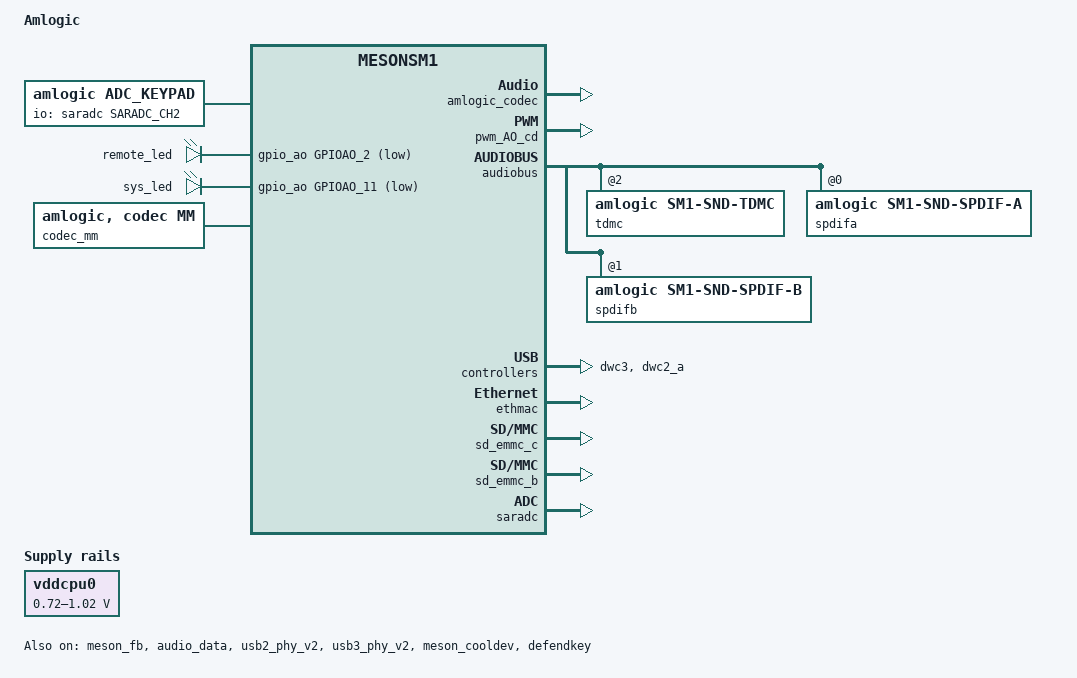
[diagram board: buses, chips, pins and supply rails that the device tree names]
/*
 * arch/arm64/boot/dts/amlogic/sm1_s905x3_ac214.dts
 *
 * Copyright (C) 2017 Amlogic, Inc. All rights reserved.
 *
 * This program is free software; you can redistribute it and/or modify
 * it under the terms of the GNU General Public License as published by
 * the Free Software Foundation; either version 2 of the License, or
 * (at your option) any later version.
 *
 * This program is distributed in the hope that it will be useful, but WITHOUT
 * ANY WARRANTY; without even the implied warranty of MERCHANTABILITY or
 * FITNESS FOR A PARTICULAR PURPOSE.  See the GNU General Public License for
 * more details.
 *
 */

/dts-v1/;

#include "mesonsm1.dtsi"
#include "partition_mbox_normal_P_32.dtsi"

/ {
	model = "Amlogic";
	amlogic-dt-id = "bananapi_m2p_2g";
	compatible = "amlogic, g12a";
	interrupt-parent = <&gic>;
	#address-cells = <1>;
	#size-cells = <1>;

	aliases {
		serial0 = &uart_AO;
		serial1 = &uart_A;
		serial2 = &uart_B;
		serial3 = &uart_C;
		serial4 = &uart_AO_B;
		tsensor0 = &p_tsensor;
		tsensor1 = &d_tsensor;
		i2c0 = &i2c0;
		i2c1 = &i2c1;
		i2c2 = &i2c2;
		i2c3 = &i2c3;
		i2c4 = &i2c_AO;
	};

	memory@00000000 {
		device_type = "memory";
		linux,usable-memory = <0x000000 0x80000000>;
	};

	reserved-memory {
		#address-cells = <1>;
		#size-cells = <1>;
		ranges;
		/* global autoconfigured region for contiguous allocations */
		ramoops@0x07400000 {
			compatible = "ramoops";
			reg = <0x07400000 0x00100000>;
			record-size = <0x8000>;
			console-size = <0x8000>;
			ftrace-size = <0x40000>;
		};

		secmon_reserved:linux,secmon {
			compatible = "shared-dma-pool";
			reusable;
			size = <0x400000>;
			alignment = <0x400000>;
			alloc-ranges = <0x05000000 0x400000>;
		};
		secos_reserved:linux,secos {
			status = "disable";
			compatible = "amlogic, aml_secos_memory";
			reg = <0x05300000 0x2000000>;
			no-map;
		};
		logo_reserved:linux,meson-fb {
			compatible = "shared-dma-pool";
			reusable;
			size = <0x800000>;
			alignment = <0x400000>;
			alloc-ranges = <0x7f800000 0x800000>;
		};
		ion_cma_reserved:linux,ion-dev {
			compatible = "shared-dma-pool";
			reusable;
			size = <0x8000000>;
			alignment = <0x400000>;
			alloc-ranges = <0x30000000 0x50000000>;
		};
		//di_reserved:linux,di {
			//compatible = "amlogic, di-mem";
			/* buffer_size = 3621952(yuv422 8bit) */
			/* 4179008(yuv422 10bit full pack mode) */
			/** 10x3621952=34.6M(0x23) support 8bit **/
			/** 10x4736064=45.2M(0x2e) support 12bit **/
			/** 10x4179008=40M(0x28) support 10bit **/
			//size = <0x2800000>;
			//no-map;
		//};
		/*di CMA pool */
		di_cma_reserved:linux,di_cma {
			compatible = "shared-dma-pool";
			reusable;
			/* buffer_size = 3621952(yuv422 8bit)
			 *  | 4736064(yuv422 10bit)
			 *  | 4074560(yuv422 10bit full pack mode)
			 * 10x3621952=34.6M(0x23) support 8bit
			 * 10x4736064=45.2M(0x2e) support 12bit
			 * 10x4074560=40M(0x28) support 10bit
			 */
			size = <0x02800000>;
			alignment = <0x400000>;
		};
		/*  POST PROCESS MANAGER */
		ppmgr_reserved:linux,ppmgr {
			compatible = "shared-dma-pool";
			size = <0x0>;
		};

		codec_mm_cma:linux,codec_mm_cma {
			compatible = "shared-dma-pool";
			reusable;
			/* ion_codec_mm max can alloc size 80M*/
			size = <0x13400000>;
			alignment = <0x400000>;
			linux,contiguous-region;
			alloc-ranges = <0x30000000 0x50000000>;
		};
		/* codec shared reserved */
		codec_mm_reserved:linux,codec_mm_reserved {
			compatible = "amlogic, codec-mm-reserved";
			size = <0x0>;
			alignment = <0x100000>;
			//no-map;
		};
		/*  vdin0 CMA pool */
		vdin0_cma_reserved:linux,vdin0_cma {
			compatible = "shared-dma-pool";
			reusable;
		/* 1920x1080x2x4  =16+4 M */
			size = <0x04000000>;
			alignment = <0x400000>;
		};
		/*  vdin1 CMA pool */
		vdin1_cma_reserved:linux,vdin1_cma {
			compatible = "shared-dma-pool";
			reusable;
			/* 1920x1080x2x4  =16 M */
			size = <0x04000000>;
			alignment = <0x400000>;
		};
		vm0_cma_reserved:linux,vm0_cma {
			compatible = "shared-dma-pool";
			reusable;
			size = <0x2000000>;
			alignment = <0x400000>;
		};
	};

	amlogic_battery:dummy-battery {
		compatible = "amlogic, dummy-battery";
		status = "disabled";
	};

	amlogic_charger:dummy-charger {
		compatible = "amlogic, dummy-charger";
		status = "disabled";
	};

	gpio-reset {
		compatible = "linux,gpio-reset";
		usb_hub {
			gpios = <&gpio GPIOH_4 GPIO_ACTIVE_HIGH>;
			asserted-state = <0>;
			duration-ms = <100>;
		};
	};

	shutdown_sysfs {
		compatible = "shutdown-sysfs";
		status = "okay";
	};

	adc_keypad {
		compatible = "amlogic, adc_keypad";
		status = "okay";
		key_name = "power";
		key_num = <1>;
		io-channels = <&saradc SARADC_CH2>;
		io-channel-names = "key-chan-2";
		key_chan = <SARADC_CH2>;
		key_code = <116>;
		key_val = <0>; //val=voltage/1800mV*1023
		key_tolerance = <40>;
        };

	gpio-keys {
		compatible = "gpio-keys";
		status = "disabled";

		install-button {
			lable = "Volume Mute";
			gpios = <&gpio_ao GPIOAO_3 GPIO_ACTIVE_LOW>;
			linux,code = <KEY_VOLUMEDOWN>;
		};
	};

	gpioleds {
		compatible = "gpio-leds";
		status = "okay";

		remote_led {
			label = "remote_led";
			gpios = <&gpio_ao GPIOAO_2 GPIO_ACTIVE_LOW>;
			default-state = "off";
			linux,default-trigger = "rc_feedback";
		};

		sys_led {
			label="sys_led";
			gpios=<&gpio_ao GPIOAO_11 GPIO_ACTIVE_LOW>;
			default-state ="on";
			linux,default-trigger = "timer";
		};
	};

	cvbsout {
		compatible = "amlogic, cvbsout-sm1";
		dev_name = "cvbsout";
		status = "okay";
		clocks = <&clkc CLKID_VCLK2_ENCI
			&clkc CLKID_VCLK2_VENCI0
			&clkc CLKID_VCLK2_VENCI1
			&clkc CLKID_DAC_CLK>;
		clock-names = "venci_top_gate",
			"venci_0_gate",
			"venci_1_gate",
			"vdac_clk_gate";
		/* clk path */
		/* 0:vid_pll vid2_clk */
		/* 1:gp0_pll vid2_clk */
		/* 2:vid_pll vid1_clk */
		/* 3:gp0_pll vid1_clk */
		clk_path = <0>;

		/* performance: reg_address, reg_value */
		/* sm1 */
		performance = <0x1bf0  0x9
			0x1b56  0x333
			0x1b12  0x8080
			0x1b05  0xfd
			0x1c59  0xf850
			0xffff  0x0>; /* ending flag */
		performance_sarft = <0x1bf0  0x9
			0x1b56  0x333
			0x1b12  0x0
			0x1b05  0x9
			0x1c59  0xfc48
			0xffff  0x0>; /* ending flag */
		performance_revB_telecom = <0x1bf0  0x9
			0x1b56  0x546
			0x1b12  0x8080
			0x1b05  0x9
			0x1c59  0xf850
			0xffff  0x0>; /* ending flag */
	};

	bt-dev{
		compatible = "amlogic, bt-dev";
		dev_name = "bt-dev";
		status = "disabled";
		gpio_reset = <&gpio       GPIOX_17       GPIO_ACTIVE_HIGH>;
		gpio_hostwake = <&gpio       GPIOX_19       GPIO_ACTIVE_HIGH>;
		gpio_btwakeup = <&gpio  GPIOX_18        GPIO_ACTIVE_HIGH>;
	};

	wifi{
		compatible = "amlogic, aml_wifi";
		dev_name = "aml_wifi";
		status = "disabled";
		interrupt_pin = <&gpio       GPIOX_7       GPIO_ACTIVE_HIGH>;
		irq_trigger_type = "GPIO_IRQ_LOW";
		power_on_pin = <&gpio       GPIOX_6       GPIO_ACTIVE_HIGH>;
		/*if use bcm wifi, config dhd_static_buf*/
		/*dhd_static_buf;*/
		pinctrl-names = "default";
		pinctrl-0 = <&pwm_e_pins>;
		pwm_config = <&wifi_pwm_conf>;
	};

	wifi_pwm_conf:wifi_pwm_conf{
		pwm_channel1_conf {
			pwms = <&pwm_ef MESON_PWM_0 30541 0>;
			duty-cycle = <15270>;
			times = <10>;
		};
		pwm_channel2_conf {
			pwms = <&pwm_ef MESON_PWM_2 30500 0>;
			duty-cycle = <15250>;
			times = <12>;
		};
	};

	picdec_cma_reserved:linux,picdec {
		compatible = "shared-dma-pool";
		reusable;
		size = <0x0>;
		alignment = <0x0>;
		linux,contiguous-region;
	};

	codec_mm {
		compatible = "amlogic, codec, mm";
		memory-region = <&codec_mm_cma &codec_mm_reserved>;
		dev_name = "codec_mm";
		status = "okay";
	};

	picdec {
		compatible = "amlogic, picdec";
		memory-region = <&picdec_cma_reserved>;
		dev_name = "picdec";
		status = "okay";
	};

	ppmgr {
		compatible = "amlogic, ppmgr";
		memory-region = <&ppmgr_reserved>;
		dev_name = "ppmgr";
		status = "okay";
	};

	deinterlace {
		compatible = "amlogic, deinterlace";
		status = "okay";
		/* 0:use reserved; 1:use cma; 2:use cma as reserved */
		flag_cma = <1>;
		//memory-region = <&di_reserved>;
		memory-region = <&di_cma_reserved>;
		interrupts = <0 46 1
				0 40 1>;
		interrupt-names = "pre_irq", "post_irq";
		clocks = <&clkc CLKID_VPU_CLKB_TMP_COMP>,
			<&clkc CLKID_VPU_CLKB_COMP>;
		clock-names = "vpu_clkb_tmp_composite",
			"vpu_clkb_composite";
		clock-range = <334 667>;
		/* buffer-size = <3621952>;(yuv422 8bit) */
		buffer-size = <4074560>;/*yuv422 fullpack*/
		/* reserve-iomap = "true"; */
		/* if enable nr10bit, set nr10bit-support to 1 */
		post-wr-support = <1>;
		nr10bit-support = <1>;
		nrds-enable = <1>;
		pps-enable = <1>;
	};
	ionvideo {
		compatible = "amlogic, ionvideo";
		dev_name = "ionvideo";
		status = "okay";
	};

	amlvideo2_0 {
		compatible = "amlogic, amlvideo2";
		dev_name = "amlvideo2";
		status = "okay";
		amlvideo2_id = <0>;
		cma_mode = <1>;
	};

	amlvideo2_1 {
		compatible = "amlogic, amlvideo2";
		dev_name = "amlvideo2";
		status = "okay";
		amlvideo2_id = <1>;
		cma_mode = <1>;
	};

	dvb {
		compatible = "amlogic, dvb";
		status = "disabled";
		dev_name = "dvb";
		fe0_mode = "external";
		fe0_demod = "cxd2856";
		fe0_i2c_adap_id = <&i2c3>;
		fe0_demod_i2c_addr = <0xD8>;
		fe0_reset_value = <0>;
		fe0_reset_gpio = <&gpio_ao GPIOAO_10 GPIO_ACTIVE_HIGH>;
		fe0_ant_poweron_value = <0>;
		fe0_ant_power_gpio = <&gpio GPIOH_5 GPIO_ACTIVE_HIGH>;

		fe0_dtv_demod = <0>;
		fe0_ts  = <0>;
		fe0_dev = <0>;

		ts0 = "serial";
		ts0_control = <0x800>;
		ts0_invert = <0>;
		interrupts = <0 23 1
		0 5 1
		0 53 1
		0 19 1
		0 25 1
		0 18 1
		0 24 1>;
		interrupt-names = "demux0_irq",
		"demux1_irq",
		"demux2_irq",
		"dvr0_irq",
		"dvr1_irq",
		"dvrfill0_fill",
		"dvrfill1_flush";
		pinctrl-names = "s_ts0";
		pinctrl-0 = <&dvb_s_ts0_pins>;
		clocks = <&clkc CLKID_DEMUX
		&clkc CLKID_AHB_ARB0
		&clkc CLKID_DOS_PARSER>;
		clock-names = "demux", "ahbarb0", "parser_top";
	};

	unifykey{
		compatible = "amlogic, unifykey";
		status = "ok";
		unifykey-num = <18>;
		unifykey-index-0 = <&keysn_0>;
		unifykey-index-1 = <&keysn_1>;
		unifykey-index-2 = <&keysn_2>;
		unifykey-index-3 = <&keysn_3>;
		unifykey-index-4 = <&keysn_4>;
		unifykey-index-5 = <&keysn_5>;
		unifykey-index-6 = <&keysn_6>;
		unifykey-index-7 = <&keysn_7>;
		unifykey-index-8 = <&keysn_8>;
		unifykey-index-9 = <&keysn_9>;
		unifykey-index-10 = <&keysn_10>;
		unifykey-index-11 = <&keysn_11>;
		unifykey-index-12 = <&keysn_12>;
		unifykey-index-13 = <&keysn_13>;
		unifykey-index-14 = <&keysn_14>;
		unifykey-index-15 = <&keysn_15>;
		unifykey-index-16 = <&keysn_16>;
		unifykey-index-17 = <&keysn_17>;
		keysn_0: key_0{
			key-name = "usid";
			key-device = "normal";
			key-permit = "read","write","del";
		};
		keysn_1:key_1{
			key-name = "mac";
			key-device = "normal";
			key-permit = "read","write","del";
		};
		keysn_2:key_2{
			key-name = "hdcp";
			key-device = "secure";
			key-type = "sha1";
			key-permit = "read","write","del";
		};
		keysn_3:key_3{
			key-name = "secure_boot_set";
			key-device = "efuse";
			key-permit = "write";
		};
		keysn_4:key_4{
			key-name = "mac_bt";
			key-device = "normal";
			key-permit = "read","write","del";
			key-type  = "mac";
		};
		keysn_5:key_5{
			key-name = "mac_wifi";
			key-device = "normal";
			key-permit = "read","write","del";
			key-type = "mac";
		};
		keysn_6:key_6{
			key-name = "hdcp2_tx";
			key-device = "normal";
			key-permit = "read","write","del";
		};
		keysn_7:key_7{
			key-name = "hdcp2_rx";
			key-device = "normal";
			key-permit = "read","write","del";
		};
		keysn_8:key_8{
			key-name = "widevinekeybox";
			key-device = "secure";
			key-permit = "read","write","del";
		};
		keysn_9:key_9{
			key-name = "deviceid";
			key-device = "normal";
			key-permit = "read","write","del";
		};
		keysn_10:key_10{
			key-name = "hdcp22_fw_private";
			key-device = "secure";
			key-permit = "read","write","del";
		};
		keysn_11:key_11{
			key-name = "PlayReadykeybox25";
			key-device = "secure";
			key-permit = "read","write","del";
		};
		keysn_12:key_12{
			key-name = "prpubkeybox";// PlayReady
			key-device = "secure";
			key-permit = "read","write","del";
		};
		keysn_13:key_13{
			key-name = "prprivkeybox";// PlayReady
			key-device = "secure";
			key-permit = "read","write","del";
		};
		keysn_14:key_14{
			key-name = "attestationkeybox";// attestation key
			key-device = "secure";
			key-permit = "read","write","del";
		};
		keysn_15:key_15{
			key-name = "netflix_mgkid";
			key-device = "secure";
			key-permit = "read","write","del";
		};
		keysn_16:key_16{
			key-name = "dtbo";// dtbo idx
			key-device = "normal";
			key-permit = "read","write","del";
		};
		keysn_17:key_17{
			key-name = "eth_exphy_para";
			key-device = "normal";
			key-permit = "read","write","del";
		};
	};//End unifykey

	efusekey:efusekey{
		keynum = <4>;
		key0 = <&key_0>;
		key1 = <&key_1>;
		key2 = <&key_2>;
		key3 = <&key_3>;
		key_0:key_0{
			keyname = "mac";
			offset = <0>;
			size = <6>;
		};
		key_1:key_1{
			keyname = "mac_bt";
			offset = <6>;
			size = <6>;
		};
		key_2:key_2{
			keyname = "mac_wifi";
			offset = <12>;
			size = <6>;
		};
		key_3:key_3{
			keyname = "usid";
			offset = <18>;
			size = <16>;
		};
	};//End efusekey

	amlvecm {
		compatible = "amlogic, vecm";
		dev_name = "aml_vecm";
		status = "okay";
		gamma_en = <0>;/*1:enabel ;0:disable*/
		wb_en = <0>;/*1:enabel ;0:disable*/
		cm_en = <0>;/*1:enabel ;0:disable*/
		/*0: 709/601  1: bt2020*/
		tx_op_color_primary = <0>;
	};

	amdolby_vision {
		compatible = "amlogic, dolby_vision_sm1";
		dev_name = "aml_amdolby_vision_driver";
		status = "okay";
		tv_mode = <0>;/*1:enabel ;0:disable*/
	};

	/* Audio Related start */
	dummy_codec:dummy{
		#sound-dai-cells = <0>;
		compatible = "amlogic, aml_dummy_codec";
		status = "okay";
	};
	amlogic_codec: t9015{
		#sound-dai-cells = <0>;
		compatible = "amlogic, aml_codec_T9015";
		reg = <0xFF632000 0x2000>;
		is_auge_used = <1>; /* meson or auge chipset used */
		tocodec_inout = <1>;
		tdmout_index = <2>;
		ch0_sel = <0>;
		ch1_sel = <1>;

		status = "okay";
	};
	audio_effect: eqdrc{
		/*eq_enable = <1>;*/
		/*drc_enable = <1>;*/
		/*
		 * 0:tdmout_a
		 * 1:tdmout_b
		 * 2:tdmout_c
		 * 3:spdifout
		 * 4:spdifout_b
		 */
		eqdrc_module = <1>;
		/* max 0xf, each bit for one lane, usually one lane */
		lane_mask = <0x1>;
		/* max 0xff, each bit for one channel */
		channel_mask = <0x3>;
	};
	auge_sound: auge_sound {
		compatible = "amlogic, g12a-sound-card";
		aml-audio-card,name = "AML-AUGESOUND";

		aml-audio-card,dai-link@0 {
                        format = "i2s";
                        mclk-fs = <256>;
                        bitclock-master = <&tdmc>;
                        frame-master = <&tdmc>;
                        continuous-clock;
			/* suffix-name, sync with android audio hal what's the dai link used for*/
                        suffix-name = "alsaPORT-i2s";
                        cpu {
                                sound-dai = <&tdmc>;
                                dai-tdm-slot-tx-mask = <1 1>;
                                dai-tdm-slot-rx-mask = <1 1>;
                                dai-tdm-slot-num = <2>;
                                dai-tdm-slot-width = <32>;
                                system-clock-frequency = <12288000>;
                        };
                        codec {
                                sound-dai = <&amlogic_codec>;
                        };
                };

		aml-audio-card,dai-link@1 {
			mclk-fs = <128>;
			continuous-clock;
			/* suffix-name, sync with android audio hal used for */
			suffix-name = "alsaPORT-spdif";
			cpu {
				sound-dai = <&spdifa>;
				system-clock-frequency = <6144000>;
			};
			codec {
				sound-dai = <&dummy_codec>;
			};
		};

		/* spdif_b to hdmi, only playback */
		aml-audio-card,dai-link@2 {
			mclk-fs = <128>;
			continuous-clock;
			/* suffix-name, sync with android audio hal
			 * what's the dai link used for
			 */
			suffix-name = "alsaPORT-spdifb";
			cpu {
				sound-dai = <&spdifb>;
				system-clock-frequency = <6144000>;
			};
			codec {
				sound-dai = <&dummy_codec>;
			};
		};
	};

	audiolocker: locker {
		compatible = "amlogic, audiolocker";
		clocks = <&clkaudio CLKID_AUDIO_LOCKER_OUT
				&clkaudio CLKID_AUDIO_LOCKER_IN
				&clkaudio CLKID_AUDIO_MCLK_D
				&clkaudio CLKID_AUDIO_MCLK_E
				&clkc CLKID_MPLL1
				&clkc CLKID_MPLL2>;
		clock-names = "lock_out", "lock_in", "out_src",
					"in_src", "out_calc", "in_ref";
		interrupts = <GIC_SPI 1 IRQ_TYPE_EDGE_RISING>;
		interrupt-names = "irq";
		frequency = <49000000>; /* pll */
		dividor = <49>; /* locker's parent */
		status = "disabled";
	};
	/* Audio Related end */

	cpu_opp_table0: cpu_opp_table0 {
		compatible = "operating-points-v2";
		opp-shared;

		opp00 {
			opp-hz = /bits/ 64 <100000000>;
			opp-microvolt = <760000>;
		};
		opp01 {
			opp-hz = /bits/ 64 <250000000>;
			opp-microvolt = <760000>;
		};
		opp02 {
			opp-hz = /bits/ 64 <500000000>;
			opp-microvolt = <760000>;
		};
		opp03 {
			opp-hz = /bits/ 64 <667000000>;
			opp-microvolt = <780000>;
		};
		opp04 {
			opp-hz = /bits/ 64 <1000000000>;
			opp-microvolt = <800000>;
		};
		opp05 {
			opp-hz = /bits/ 64 <1200000000>;
			opp-microvolt = <810000>;
		};
		opp06 {
			opp-hz = /bits/ 64 <1404000000>;
			opp-microvolt = <820000>;
		};
		opp07 {
			opp-hz = /bits/ 64 <1500000000>;
			opp-microvolt = <830000>;
		};
		opp08 {
			opp-hz = /bits/ 64 <1608000000>;
			opp-microvolt = <860000>;
		};
		opp09 {
			opp-hz = /bits/ 64 <1704000000>;
			opp-microvolt = <900000>;
		};
		opp10 {
			opp-hz = /bits/ 64 <1800000000>;
			opp-microvolt = <940000>;
		};
		opp11 {
			opp-hz = /bits/ 64 <1908000000>;
			opp-microvolt = <1000000>;
		};
	};

	cpufreq-meson {
		compatible = "amlogic, cpufreq-meson";
		pinctrl-names = "default";
		pinctrl-0 = <&pwm_ao_d_pins3>;
		status = "okay";
	};

}; /* end of / */

&vddcpu0 {
	pwms = <&pwm_AO_cd MESON_PWM_1 1250 0>;
	regulator-min-microvolt = <720000>;
	regulator-max-microvolt = <1020000>;
	max-duty-cycle = <1250>;
	/* Voltage Duty-Cycle */
	voltage-table = <1020000 0>,
		<1010000 3>,
		<1000000 6>,
		<990000 10>,
		<980000 13>,
		<970000 16>,
		<960000 20>,
		<950000 23>,
		<940000 26>,
		<930000 30>,
		<920000 33>,
		<910000 36>,
		<900000 40>,
		<890000 43>,
		<880000 46>,
		<870000 50>,
		<860000 53>,
		<850000 56>,
		<840000 60>,
		<830000 63>,
		<820000 67>,
		<810000 70>,
		<800000 73>,
		<790000 76>,
		<780000 80>,
		<770000 83>,
		<760000 86>,
		<750000 90>,
		<740000 93>,
		<730000 96>,
		<720000 100>;
};

&meson_fb {
	status = "okay";
	display_size_default = <1920 1080 1920 2160 32>;
	mem_size = <0x00800000 0x4b80000 0x100000 0x100000 0x800000>;
	logo_addr = "0x7f800000";
	mem_alloc = <0>;
	pxp_mode = <0>; /** 0:normal mode 1:pxp mode */
	4k2k_fb = <1>;
};

&pwm_AO_cd {
	status = "okay";
};

&i2c0 {
	status = "disabled";
	pinctrl-names="default";
	pinctrl-0=<&i2c0_master_pins2>;
	clock-frequency = <400000>;
};

&i2c2 {
	status = "disabled";
	pinctrl-names="default";
	pinctrl-0=<&i2c2_master_pins1>;
	clock-frequency = <300000>;
};

&i2c3 {
	status = "disabled";
	pinctrl-names="default";
	pinctrl-0=<&i2c3_master_pins2>;
	clock-frequency = <300000>; /* default 100k */
};

&audiobus {
	tdmb: tdm@1 {
		compatible = "amlogic, sm1-snd-tdmb";
		#sound-dai-cells = <0>;
		dai-tdm-lane-slot-mask-in = <0 1 0 0>;
		dai-tdm-lane-slot-mask-out = <1 0 0 0>;
		dai-tdm-clk-sel = <1>;
		clocks = <&clkaudio CLKID_AUDIO_MCLK_B
				&clkaudio CLKID_AUDIO_MCLK_PAD0
				&clkc CLKID_MPLL0>;
		clock-names = "mclk", "mclk_pad", "clk_srcpll";
		pinctrl-names = "tdm_pins";
		pinctrl-0 = <&tdmb_mclk_ao &tdmout_b_ao>;

		/*enable default mclk(12.288M), before extern codec start*/
		start_clk_enable = <1>;

		/*tdm clk tuning enable*/
		clk_tuning_enable = <1>;

		status = "disabled";
	};

	tdmc: tdm@2 {
                compatible = "amlogic, sm1-snd-tdmc";
                #sound-dai-cells = <0>;
                dai-tdm-lane-slot-mask-in = <0 1 0 0>;
                dai-tdm-lane-slot-mask-out = <1 0 0 0>;
                dai-tdm-clk-sel = <2>;

                clocks = <&clkaudio CLKID_AUDIO_MCLK_C
                                &clkc CLKID_MPLL2>;
                clock-names = "mclk", "clk_srcpll";
		mclk_pad = <0>;  /* 0: mclk_0; 1: mclk_1 */
		i2s2hdmi = <1>;
                status = "okay";
        };

	spdifa: spdif@0 {
		compatible = "amlogic, sm1-snd-spdif-a";
		#sound-dai-cells = <0>;
		clocks = <&clkc CLKID_MPLL0
				&clkc CLKID_FCLK_DIV4
				&clkaudio CLKID_AUDIO_GATE_SPDIFIN
				&clkaudio CLKID_AUDIO_GATE_SPDIFOUT_A
				&clkaudio CLKID_AUDIO_SPDIFIN
				&clkaudio CLKID_AUDIO_SPDIFOUT_A>;
		clock-names = "sysclk", "fixed_clk", "gate_spdifin",
				"gate_spdifout", "clk_spdifin", "clk_spdifout";
		interrupts =
				<GIC_SPI 151 IRQ_TYPE_EDGE_RISING>;

		interrupt-names = "irq_spdifin";
		pinctrl-names = "spdif_pins";
		pinctrl-0 = <&spdifout>;

		status = "okay";
	};
	spdifb: spdif@1 {
		compatible = "amlogic, sm1-snd-spdif-b";
		#sound-dai-cells = <0>;
		clocks = <&clkc CLKID_MPLL0 /*CLKID_HIFI_PLL*/
				&clkaudio CLKID_AUDIO_GATE_SPDIFOUT_B
				&clkaudio CLKID_AUDIO_SPDIFOUT_B>;
		clock-names = "sysclk",
				"gate_spdifout", "clk_spdifout";

		status = "okay";
	};

}; /* end of audiobus */

&pinctrl_periphs {
}; /* end of pinctrl_periphs */

&audio_data {
	status = "okay";
};

/* Audio Related End */

&pwm_ef {
	status = "disabled";
};

&dwc3 {
	status = "okay";
};

&usb2_phy_v2 {
	status = "okay";
	portnum = <2>;
};

&usb3_phy_v2 {
	status = "okay";
	portnum = <1>;
	otg = <1>;
};

&dwc2_a {
	status = "okay";
	/** 0: normal, 1: otg+dwc3 host only, 2: otg+dwc3 device only*/
	controller-type = <3>;
};
&ethmac {
	status = "okay";
	pinctrl-names = "external_eth_pins";
	pinctrl-0 = <&external_eth_pins>;
	mc_val = <0x1621>;
	internal_phy=<0>;

	cali_val = <0x60000>;
	rx_delay = <1>;
	auto_cali_idx = <0>;

	/* reset */
        rst_pin-gpios = <&gpio GPIOZ_15 GPIO_ACTIVE_LOW>;
};

&uart_A {
	status = "disabled";
};

&uart_B {
	status = "disabled";
};

/*if you want to use vdin just modify status to "ok"*/
&vdin0 {
	memory-region = <&vdin0_cma_reserved>;
	status = "disabled";
	/*vdin write mem color depth support:
	 *bit0:support 8bit
	 *bit1:support 9bit
	 *bit2:support 10bit
	 *bit3:support 12bit
	 *bit4:support yuv422 10bit full pack mode (from txl new add)
	 */
	tv_bit_mode = <0x15>;
};
&vdin1 {
	memory-region = <&vdin1_cma_reserved>;
	status = "disabled";
	/*vdin write mem color depth support:
	 *bit0:support 8bit
	 *bit1:support 9bit
	 *bit2:support 10bit
	 *bit3:support 12bit
	 */
	tv_bit_mode = <1>;
};

&reboot {
	sd_volsw_gpio = <&gpio_ao GPIOAO_6 GPIO_ACTIVE_HIGH>;
	sd_power_gpio = <&gpio GPIOH_8 GPIO_ACTIVE_HIGH>;
	sd_vddio_gpio = <&gpio_ao GPIOE_2 GPIO_ACTIVE_HIGH>;
};

/* emmc */
&sd_emmc_c {
	status = "okay";
	emmc {
		caps = "MMC_CAP_8_BIT_DATA",
			 "MMC_CAP_MMC_HIGHSPEED",
			 "MMC_CAP_SD_HIGHSPEED",
			 "MMC_CAP_NONREMOVABLE",
			/* "MMC_CAP_1_8V_DDR", */
			 "MMC_CAP_HW_RESET",
			 "MMC_CAP_ERASE",
			 "MMC_CAP_CMD23",
			 "MMC_CAP_DRIVER_TYPE_D";
		caps2 = "MMC_CAP2_HS200",
			"MMC_CAP2_HS400";
		f_min = <400000>;
		f_max = <200000000>;
	};
};

/* sd */
&sd_emmc_b {
	status = "okay";
	sd-uhs-sdr25;
	sd-uhs-sdr50;
	sd-uhs-sdr104;
	max-frequency = <200000000>;
	sd {
		caps = "MMC_CAP_4_BIT_DATA",
			"MMC_CAP_UHS_SDR25",
			"MMC_CAP_UHS_SDR50",
			"MMC_CAP_UHS_SDR104",
			"MMC_CAP_MMC_HIGHSPEED",
			"MMC_CAP_SD_HIGHSPEED",
			"MMC_CAP_ERASE",
			"MMC_CAP_CMD23";
		vol_switch = <&gpio_ao GPIOAO_6 GPIO_ACTIVE_HIGH>;
		vol_switch_18 = <1>;
		f_min = <400000>;
		f_max = <200000000>;
	};
};

/* sdio */
&sd_emmc_a {
	status = "disabled";
	sdio {
		caps = "MMC_CAP_4_BIT_DATA",
			 "MMC_CAP_MMC_HIGHSPEED",
			 "MMC_CAP_SD_HIGHSPEED",
			 "MMC_CAP_NONREMOVABLE",
			 "MMC_CAP_UHS_SDR12",
			 "MMC_CAP_UHS_SDR25",
			 "MMC_CAP_UHS_SDR50",
			 "MMC_CAP_UHS_SDR104",
			 "MMC_PM_KEEP_POWER",
			 "MMC_CAP_SDIO_IRQ";
		f_min = <400000>;
		f_max = <200000000>;
	};
};

&nand {
	status = "disabled";
	plat-names = "bootloader","nandnormal";
	plat-num = <2>;
	plat-part-0 = <&bootloader>;
	plat-part-1 = <&nandnormal>;
	bootloader: bootloader{
		enable_pad ="ce0";
		busy_pad = "rb0";
		timming_mode = "mode5";
		bch_mode = "bch8_1k";
		t_rea = <20>;
		t_rhoh = <15>;
		chip_num = <1>;
		part_num = <0>;
		rb_detect = <1>;
	};
	nandnormal: nandnormal{
		enable_pad ="ce0";
		busy_pad = "rb0";
		timming_mode = "mode5";
		bch_mode = "bch8_1k";
		plane_mode = "twoplane";
		t_rea = <20>;
		t_rhoh = <15>;
		chip_num = <2>;
		part_num = <3>;
		partition = <&nand_partitions>;
		rb_detect = <1>;
	};
	nand_partitions:nand_partition{
		/*
		 * if bl_mode is 1, tpl size was generate by
		 * fip_copies * fip_size which
		 * will not skip bad when calculating
		 * the partition size;
		 *
		 * if bl_mode is 0,
		 * tpl partition must be comment out.
		 */
		tpl{
			offset=<0x0 0x0>;
			size=<0x0 0x0>;
		};
		logo{
			offset=<0x0 0x0>;
			size=<0x0 0x200000>;
		};
		recovery{
			offset=<0x0 0x0>;
			size=<0x0 0x1000000>;
		};
		boot{
			offset=<0x0 0x0>;
			size=<0x0 0x1000000>;
		};
		system{
			offset=<0x0 0x0>;
			size=<0x0 0x4000000>;
		};
		data{
			offset=<0xffffffff 0xffffffff>;
			size=<0x0 0x0>;
		};
	};
};

&pcie_A {
	reset-gpio = <&gpio GPIOX_7 GPIO_ACTIVE_HIGH>;
	status = "disable";
};

&meson_cooldev {
	status = "okay";
};

&saradc {
	status = "okay";
};

&defendkey {
	status = "okay";
};

&pinctrl_aobus {
	dvb_s_ts0_pins: dvb_s_ts0_pins {
		tsin_a {
			groups = "tsin_a_sop_ao",
				"tsin_a_valid_ao",
				"tsin_a_clk_ao",
				"tsin_a_din0_ao";
			function = "tsin_a_ao";
		};
	};
	
	spdifout: spdifout {
		mux { /* gpiao_10 */
			groups = "spdif_out_ao";
			function = "spdif_out_ao";
		};
	};

	tdmb_mclk_ao: mclk0_ao {
		mux { /* GPIOAO_9 */
			groups = "mclk0_ao";
			function = "mclk0_ao";
			drive-strength = <2>;
		};
	};

	tdmout_b_ao: tdmout_b {
		mux { /* GPIOAO_8, GPIOAO_7, GPIOAO_4 */
			groups = "tdmb_sclk_ao",
				"tdmb_fs_ao",
				"tdmb_dout0_ao";
			function = "tdmb_out_ao";
			drive-strength = <2>;
		};
	};
};

&custom_maps {
	mapnum = <2>;
	map0 = <&map_0>;
	map1 = <&map_1>;
	map_0: map_0{
		mapname = "amlogic-remote-1";
		customcode = <0xfe01>;
		release_delay = <80>;
		size  = <13>;   /*keymap size*/
		keymap = <REMOTE_KEY(0x00, KEY_POWER)
			REMOTE_KEY(0x01, KEY_MENU)
			REMOTE_KEY(0x09, KEY_HOME)
			REMOTE_KEY(0x02, KEY_LEFT)
			REMOTE_KEY(0x0a, KEY_RIGHT)
			REMOTE_KEY(0x05, KEY_UP)
			REMOTE_KEY(0x04, KEY_DOWN)
			REMOTE_KEY(0x06, KEY_ENTER)
			REMOTE_KEY(0x03, KEY_VOLUMEDOWN)
			REMOTE_KEY(0x0b, KEY_VOLUMEUP)
			REMOTE_KEY(0x40, KEY_BACK)
			REMOTE_KEY(0x48, KEY_PLAYPAUSE)
			REMOTE_KEY(0x44, KEY_MUTE)>;
	};
	map_1: map_1{
		mapname = "amlogic-remote-2";
		customcode = <0xaf40>;
		release_delay = <80>;
		size  = <13>;
		keymap = <REMOTE_KEY(0x0e, KEY_POWER)
			REMOTE_KEY(0x07, KEY_MENU)
			REMOTE_KEY(0x02, KEY_HOME)
			REMOTE_KEY(0x01, KEY_LEFT)
			REMOTE_KEY(0x03, KEY_RIGHT)
			REMOTE_KEY(0x19, KEY_UP)
			REMOTE_KEY(0x05, KEY_DOWN)
			REMOTE_KEY(0x06, KEY_ENTER)
			REMOTE_KEY(0x12, KEY_VOLUMEDOWN)
			REMOTE_KEY(0x04, KEY_VOLUMEUP)
			REMOTE_KEY(0x0f, KEY_BACK)
			REMOTE_KEY(0x0d, KEY_PLAYPAUSE)
			REMOTE_KEY(0x11, KEY_MUTE)>;
	};
};

&irblaster {
	status = "disable";
};

